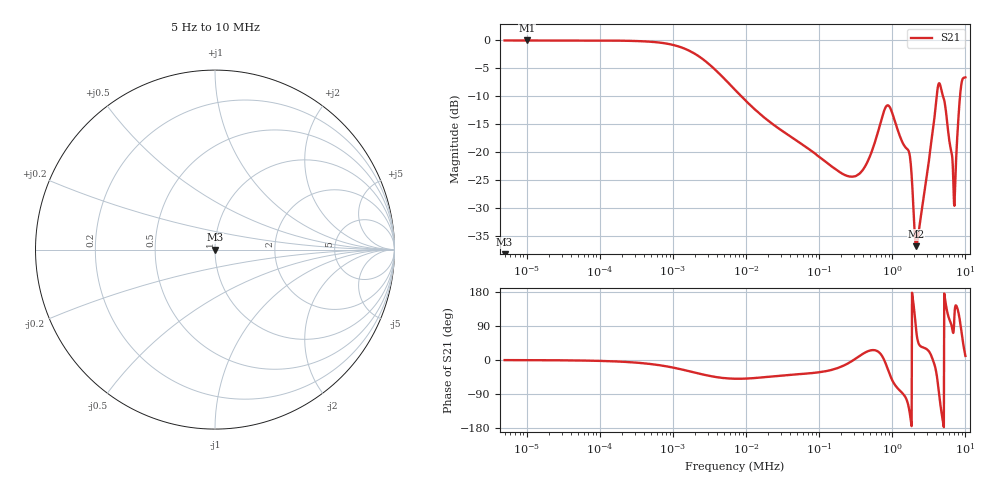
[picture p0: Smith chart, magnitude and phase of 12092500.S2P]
!Agilent Technologies,E5061B,MY49204007,A.02.12
!Date: Fri Sep 12 09:25:38 2025
!Data & Calibration Information:
!Freq	S11:SOLT2(OFF)	S21:SOLT2(OFF)	S12:SOLT2(OFF)	S22:SOLT2(OFF)
# Hz S dB R 50
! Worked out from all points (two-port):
!   1041 points, 5 Hz to 10 MHz, reference 50 ohm
!   highest |S21| = -0.06 dB at 10.12 Hz (marker M1); lowest = -36.8 dB at 2.109 MHz (marker M2)
!   |S21| within 3 dB of the highest: start of sweep to 2.364 kHz
!   lowest |S11| = - dB at 5 Hz (marker M3), VSWR 1.00, Z = 50 + j0 ohm
!   |S11| at or under -10 dB: start of sweep to end of sweep
!   S12 and S22 are empty: the file has one direction only
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5  -200.00 0.0  -0.06 -0.3  -200.00 0.0  -200.00 0.0
10.119  -200.00 0.0  -0.06 -0.4  -200.00 0.0  -200.00 0.0
56.522  -200.00 0.0  -0.06 -1.4  -200.00 0.0  -200.00 0.0
632.897  -200.00 0.0  -0.41 -13.3  -200.00 0.0  -200.00 0.0
2229.669  -200.00 0.0  -2.83 -35.5  -200.00 0.0  -200.00 0.0
7154.49  -200.00 0.0  -8.95 -49.5  -200.00 0.0  -200.00 0.0
80111.67  -200.00 0.0  -19.88 -34.5  -200.00 0.0  -200.00 0.0
331491.6  -200.00 0.0  -24.16 6.3  -200.00 0.0  -200.00 0.0
675229.8  -200.00 0.0  -15.24 18.4  -200.00 0.0  -200.00 0.0
893075.1  -200.00 0.0  -11.72 -30.8  -200.00 0.0  -200.00 0.0
1696631  -200.00 0.0  -20.05 -129.2  -200.00 0.0  -200.00 0.0
2108729  -200.00 0.0  -36.83 83.7  -200.00 0.0  -200.00 0.0
2305674  -200.00 0.0  -34.12 42.2  -200.00 0.0  -200.00 0.0
3499982  -200.00 0.0  -17.11 6.1  -200.00 0.0  -200.00 0.0
3935896  -200.00 0.0  -11.62 -25.7  -200.00 0.0  -200.00 0.0
4315301  -200.00 0.0  -7.77 -80.8  -200.00 0.0  -200.00 0.0
4947644  -200.00 0.0  -10.07 -163.2  -200.00 0.0  -200.00 0.0
5599234  -200.00 0.0  -14.43 130.4  -200.00 0.0  -200.00 0.0
6993744  -200.00 0.0  -29.24 91.8  -200.00 0.0  -200.00 0.0
8198050  -200.00 0.0  -12.17 116.8  -200.00 0.0  -200.00 0.0
9038960  -200.00 0.0  -7.16 60.7  -200.00 0.0  -200.00 0.0
1e7  -200.00 0.0  -6.65 10.7  -200.00 0.0  -200.00 0.0
